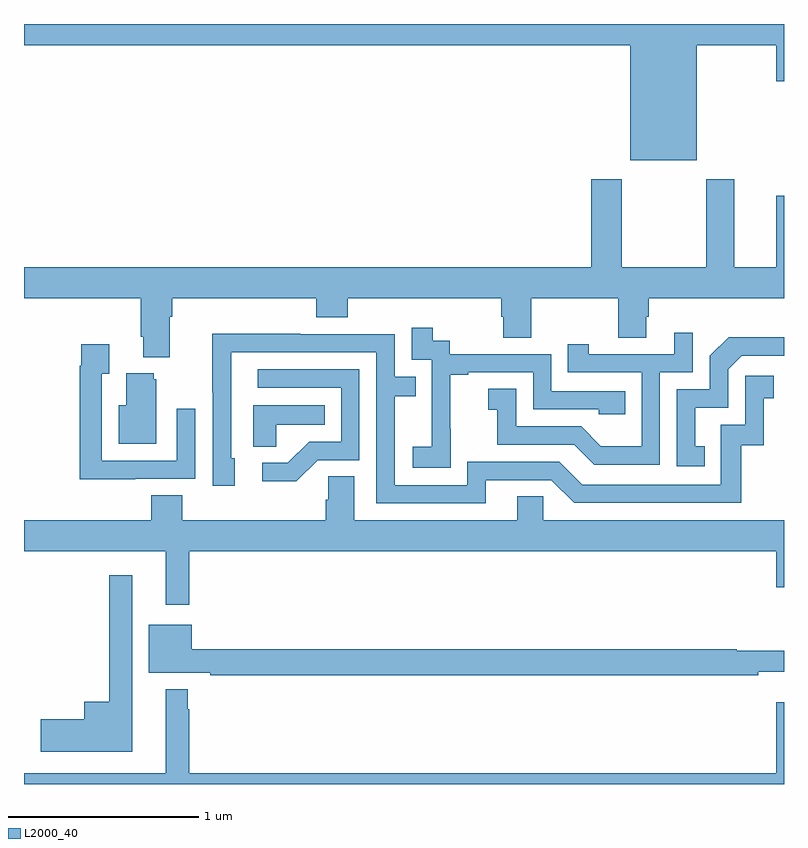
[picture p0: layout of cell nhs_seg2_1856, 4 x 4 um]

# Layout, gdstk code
import gdstk
lib = gdstk.Library(unit=1e-6, precision=1e-09)
def P(c, l, *ps):  # polygons
    for p in ps: c.add(gdstk.Polygon(p, *l))
L2000_40 = (2000, 40)

nhs_seg2_1856 = lib.new_cell('nhs_seg2_1856')
P(nhs_seg2_1856, L2000_40, [(212.542,595.688),(212.96,595.688),(212.96,595.5),(213,595.5),(213,595.8),(209,595.8),(209,595.688),(212.192,595.688),(212.192,595.082),(212.542,595.082)],
  [(209.767,594.26),(209.78,594.26),(209.78,594.356),(210.539,594.356),(210.539,594.257),(210.704,594.257),(210.704,594.356),(211.511,594.356),(211.511,594.258),(211.523,594.258),(211.523,594.148),(211.671,594.148),(211.671,594.356),(212.128,594.356),(212.128,594.148),(212.275,594.148),(212.275,594.258),(212.288,594.258),(212.288,594.356),(213,594.356),(213,594.895),(212.96,594.895),(212.96,594.52),(212.737,594.52),(212.737,594.982),(212.59,594.982),(212.59,594.52),(212.145,594.52),(212.145,594.982),(211.985,594.982),(211.985,594.52),(209,594.52),(209,594.356),(209.615,594.356),(209.615,594.154),(209.627,594.154),(209.627,594.047),(209.767,594.047)],
  [(211.245,593.671),(211.244,593.671),(211.244,593.955),(211.339,593.955),(211.339,593.967),(211.68,593.967),(211.68,593.772),(212.025,593.772),(212.025,593.745),(212.165,593.745),(212.165,593.868),(211.776,593.868),(211.776,594.063),(211.242,594.063),(211.242,594.132),(211.15,594.132),(211.15,594.202),(211.041,594.202),(211.041,594.033),(211.146,594.033),(211.146,593.804),(211.145,593.804),(211.145,593.575),(211.047,593.575),(211.047,593.465),(211.245,593.465)],
  [(212.346,593.967),(212.52,593.967),(212.52,594.175),(212.423,594.175),(212.423,594.063),(211.972,594.063),(211.972,594.115),(211.861,594.115),(211.861,593.967),(212.25,593.967),(212.25,593.578),(212.036,593.578),(211.932,593.682),(211.59,593.682),(211.59,593.881),(211.443,593.881),(211.443,593.771),(211.492,593.771),(211.492,593.586),(211.895,593.586),(212,593.481),(212.346,593.481)],
  [(211.429,593.4),(211.776,593.4),(211.896,593.28),(212.776,593.28),(212.776,593.583),(212.894,593.583),(212.894,593.829),(212.947,593.829),(212.947,593.95),(212.796,593.95),(212.796,593.691),(212.667,593.691),(212.667,593.376),(211.938,593.376),(211.818,593.496),(211.332,593.496),(211.332,593.373),(210.951,593.373),(210.951,593.842),(211.061,593.842),(211.061,593.943),(210.951,593.943),(210.951,594.168),(210.455,594.168),(210.455,594.17),(209.992,594.17),(209.992,593.863),(209.994,593.863),(209.994,593.37),(210.109,593.37),(210.109,593.514),(210.09,593.514),(210.09,594.072),(210.855,594.072),(210.855,593.277),(211.429,593.277)],
  [(212.582,593.577),(212.533,593.577),(212.533,593.781),(212.706,593.781),(212.706,593.982),(212.778,594.054),(213,594.054),(213,594.152),(212.708,594.152),(212.61,594.054),(212.61,593.877),(212.436,593.877),(212.436,593.472),(212.582,593.472)],
  [(209.585,593.406),(209.901,593.406),(209.901,593.776),(209.805,593.776),(209.805,593.502),(209.409,593.502),(209.409,593.959),(209.449,593.959),(209.449,594.115),(209.301,594.115),(209.301,594.002),(209.293,594.002),(209.293,593.405),(209.585,593.405)],
  [(210.546,593.505),(210.765,593.505),(210.765,593.982),(210.231,593.982),(210.231,593.886),(210.669,593.886),(210.669,593.601),(210.5,593.601),(210.389,593.49),(210.255,593.49),(210.255,593.393),(210.433,593.393)],
  [(209.695,593.931),(209.684,593.931),(209.684,593.962),(209.537,593.962),(209.537,593.794),(209.498,593.794),(209.498,593.591),(209.695,593.591)],
  [(210.327,593.69),(210.584,593.69),(210.584,593.794),(210.206,593.794),(210.206,593.575),(210.327,593.575)],
  [(209.869,593.024),(212.96,593.024),(212.96,592.836),(213,592.836),(213,593.188),(211.734,593.188),(211.734,593.315),(211.595,593.315),(211.595,593.188),(210.739,593.188),(210.739,593.42),(210.6,593.42),(210.6,593.297),(210.587,593.297),(210.587,593.188),(209.834,593.188),(209.834,593.321),(209.669,593.321),(209.669,593.188),(209,593.188),(209,593.024),(209.747,593.024),(209.747,592.743),(209.869,592.743)],
  [(209.569,592.9),(209.448,592.9),(209.448,592.234),(209.318,592.234),(209.318,592.142),(209.088,592.142),(209.088,591.971),(209.569,591.971)],
  [(212.864,592.391),(213,592.391),(213,592.501),(212.752,592.501),(212.752,592.508),(209.884,592.508),(209.884,592.639),(209.657,592.639),(209.657,592.385),(209.98,592.385),(209.98,592.372),(212.864,592.372)],
  [(213,592.231),(212.96,592.231),(212.96,591.856),(209.869,591.856),(209.869,592.193),(209.862,592.193),(209.862,592.3),(209.747,592.3),(209.747,591.856),(209,591.856),(209,591.8),(213,591.8)])

lib.write_gds('nhs_seg2_1856.gds')
